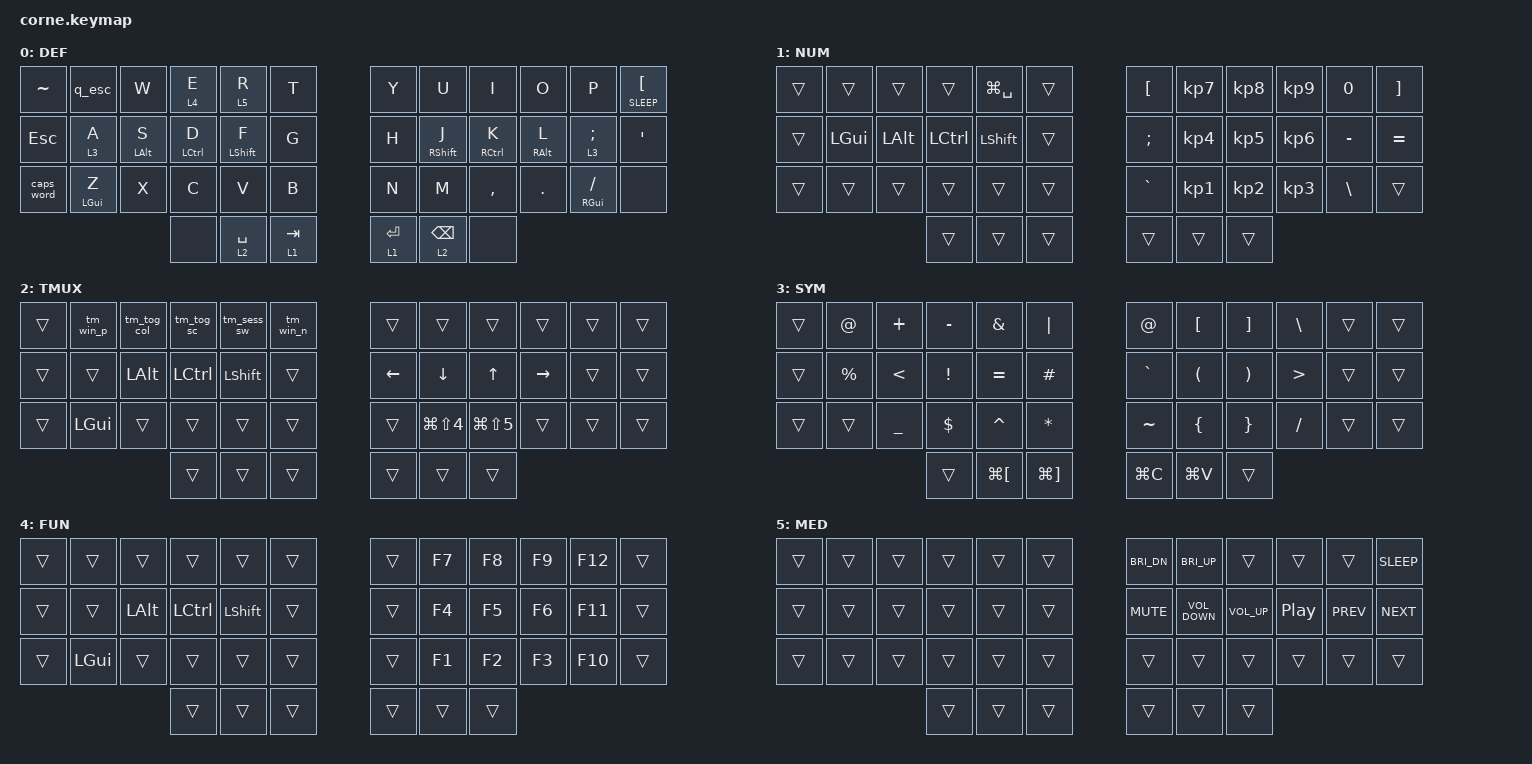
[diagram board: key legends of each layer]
/*
 * Copyright (c) 2020 The ZMK Contributors
 *
 * SPDX-License-Identifier: MIT
 */

#include <behaviors.dtsi>
#include <dt-bindings/zmk/keys.h>

&led_strip { chain-length = <54>; };

&caps_word { continue-list = <UNDERSCORE BACKSPACE DELETE LEFT_ALT RIGHT_ALT LEFT_GUI RIGHT_GUI>; };

/ {
    combos { compatible = "zmk,combos"; };

    macros {
        tm_tog_col: tm_tog_col {
            compatible = "zmk,behavior-macro";
            label = "TM_TOG_COL";
            #binding-cells = <0>;
            bindings = <&kp LC(T) &kp Z>;
        };

        tm_sess_sw: tm_sess_sw {
            compatible = "zmk,behavior-macro";
            label = "Tmux: Switch Session";
            #binding-cells = <0>;
            bindings = <&kp LC(T) &kp LS(F)>;
        };

        tm_tog_sc: tm_tog_sc {
            compatible = "zmk,behavior-macro";
            label = "TM_TOG_SC";
            #binding-cells = <0>;
            bindings = <&kp LC(T) &kp LEFT_BRACKET>;
        };

        tm_win_n: tm_win_n {
            compatible = "zmk,behavior-macro";
            label = "Go to next tmux window";
            #binding-cells = <0>;
            bindings = <&kp LC(T) &kp J>;
        };

        tm_win_p: tm_win_p {
            compatible = "zmk,behavior-macro";
            label = "TM_WIN_P";
            #binding-cells = <0>;
            bindings = <&kp LC(T) &kp SEMICOLON>;
        };
    };

    behaviors {
        hm_l: homerow_mods_left {
            compatible = "zmk,behavior-hold-tap";
            label = "HOME_ROW_MOD_LEFT";
            bindings = <&kp>, <&kp>;

            #binding-cells = <2>;
            flavor = "balanced";
            quick-tap-ms = <175>;
            tapping-term-ms = <280>;
            hold-trigger-on-release;
            hold-trigger-key-positions = <39 40 6 7 8 9 10 11 18 19 20 21 22 23 30 31 32 33 34 35 41 37 38>;
            require-prior-idle-ms = <150>;
        };

        hm_r: homerow_mods_right {
            compatible = "zmk,behavior-hold-tap";
            label = "HOMEROW_MODS_RIGHT";
            bindings = <&kp>, <&kp>;

            #binding-cells = <2>;
            flavor = "tap-preferred";
            quick-tap-ms = <175>;
            tapping-term-ms = <280>;
            hold-trigger-on-release;
            hold-trigger-key-positions = <37 38 0 1 2 3 4 5 12 13 14 15 16 17 24 25 26 27 28 29 39 40>;
            require-prior-idle-ms = <150>;
        };

        q_esc: q_esc {
            compatible = "zmk,behavior-tap-dance";
            label = "Q_ESC";
            #binding-cells = <0>;
            bindings = <&kp Q>, <&kp ESC>;
        };
    };

    keymap {
        compatible = "zmk,keymap";

        DEF {
            // -----------------------------------------------------------------------------------------
            // |  TAB |  Q  |  W  |  E  |  R  |  T  |   |  Y  |  U   |  I  |  O  |  P  | BKSP |
            // | CTRL |  A  |  S  |  D  |  F  |  G  |   |  H  |  J   |  K  |  L  |  ;  |  '   |
            // | SHFT |  Z  |  X  |  C  |  V  |  B  |   |  N  |  M   |  ,  |  .  |  /  | ESC  |
            //                    | GUI | LWR | SPC |   | ENT | RSE  | ALT |

            bindings = <
&kp TILDE   &q_esc            &kp W             &lt 4 E        &lt 5 R        &kp T        &kp Y        &kp U            &kp I          &kp O         &kp P            &hm_r C_SLEEP LEFT_BRACKET
&kp ESC     &lt 3 A           &hm_l LEFT_ALT S  &hm_l LCTRL D  &hm_l LSHFT F  &kp G        &kp H        &hm_r RSHIFT J   &hm_r RCTRL K  &hm_r RALT L  &lt 3 SEMI       &kp SQT
&caps_word  &hm_l LEFT_GUI Z  &kp X             &kp C          &kp V          &kp B        &kp N        &kp M            &kp COMMA      &kp DOT       &hm_r RGUI FSLH  &none
                                                &none          &lt 2 SPACE    &lt 1 TAB    &lt 1 ENTER  &lt 2 BACKSPACE  &none
            >;

            label = "DEF";
        };

        NUM {
            label = "NUM";
            bindings = <
&trans  &trans    &trans    &trans     &kp LG(SPACE)  &trans    &kp LEFT_BRACKET  &kp KP_NUMBER_7  &kp KP_NUMBER_8  &kp KP_NUMBER_9  &kp N0         &kp RIGHT_BRACKET
&trans  &kp LGUI  &kp LALT  &kp LCTRL  &kp LSHFT      &trans    &kp SEMICOLON     &kp KP_NUMBER_4  &kp KP_NUMBER_5  &kp KP_NUMBER_6  &kp MINUS      &kp EQUAL
&trans  &trans    &trans    &trans     &trans         &trans    &kp GRAVE         &kp KP_NUMBER_1  &kp KP_NUMBER_2  &kp KP_NUMBER_3  &kp BACKSLASH  &trans
                            &trans     &trans         &trans    &trans            &trans           &trans
            >;
        };

        TMUX {
            // -----------------------------------------------------------------------------------------
            // |  TAB |  !  |  @  |  #  |  $  |  %  |   |  ^  |  &  |  *  |  (  |  )  | BKSP |
            // | CTRL |     |     |     |     |     |   |  -  |  =  |  [  |  ]  |  \  |  `   |
            // | SHFT |     |     |     |     |     |   |  _  |  +  |  {  |  }  | "|" |  ~   |
            //                    | GUI |     | SPC |   | ENT |     | ALT |

            bindings = <
&trans  &tm_win_p  &tm_tog_col  &tm_tog_sc  &tm_sess_sw  &tm_win_n    &trans    &trans                &trans          &trans     &trans  &trans
&trans  &trans     &kp LALT     &kp LCTRL   &kp LSHFT    &trans       &kp LEFT  &kp DOWN_ARROW        &kp UP_ARROW    &kp RIGHT  &trans  &trans
&trans  &kp LGUI   &trans       &trans      &trans       &trans       &trans    &kp LG(LS(NUMBER_4))  &kp LG(LS(N5))  &trans     &trans  &trans
                                &trans      &trans       &trans       &trans    &trans                &trans
            >;

            label = "TMUX";
        };

        SYM {
            bindings = <
&trans  &kp AT       &kp PLUS       &kp MINUS   &kp AMPS              &kp PIPE                 &kp AT     &kp LBKT              &kp RBKT               &kp BACKSLASH     &trans  &trans
&trans  &kp PERCENT  &kp LESS_THAN  &kp EXCL    &kp EQUAL             &kp HASH                 &kp GRAVE  &kp LEFT_PARENTHESIS  &kp RIGHT_PARENTHESIS  &kp GREATER_THAN  &trans  &trans
&trans  &trans       &kp UNDER      &kp DOLLAR  &kp CARET             &kp ASTRK                &kp TILDE  &kp LEFT_BRACE        &kp RIGHT_BRACE        &kp SLASH         &trans  &trans
                                    &trans      &kp LG(LEFT_BRACKET)  &kp LG(RIGHT_BRACKET)    &kp LG(C)  &kp LG(V)             &trans
            >;
        };

        FUN {
            bindings = <
&trans  &trans    &trans    &trans     &trans     &trans    &trans  &kp F7  &kp F8  &kp F9  &kp F12  &trans
&trans  &trans    &kp LALT  &kp LCTRL  &kp LSHFT  &trans    &trans  &kp F4  &kp F5  &kp F6  &kp F11  &trans
&trans  &kp LGUI  &trans    &trans     &trans     &trans    &trans  &kp F1  &kp F2  &kp F3  &kp F10  &trans
                            &trans     &trans     &trans    &trans  &trans  &trans
            >;
        };

        MED {
            bindings = <
&trans  &trans  &trans  &trans  &trans  &trans    &kp C_BRI_DN  &kp C_BRI_UP       &trans           &trans    &trans      &kp C_SLEEP
&trans  &trans  &trans  &trans  &trans  &trans    &kp K_MUTE    &kp C_VOLUME_DOWN  &kp C_VOLUME_UP  &kp C_PP  &kp C_PREV  &kp C_NEXT
&trans  &trans  &trans  &trans  &trans  &trans    &trans        &trans             &trans           &trans    &trans      &trans
                        &trans  &trans  &trans    &trans        &trans             &trans
            >;
        };
    };
};
